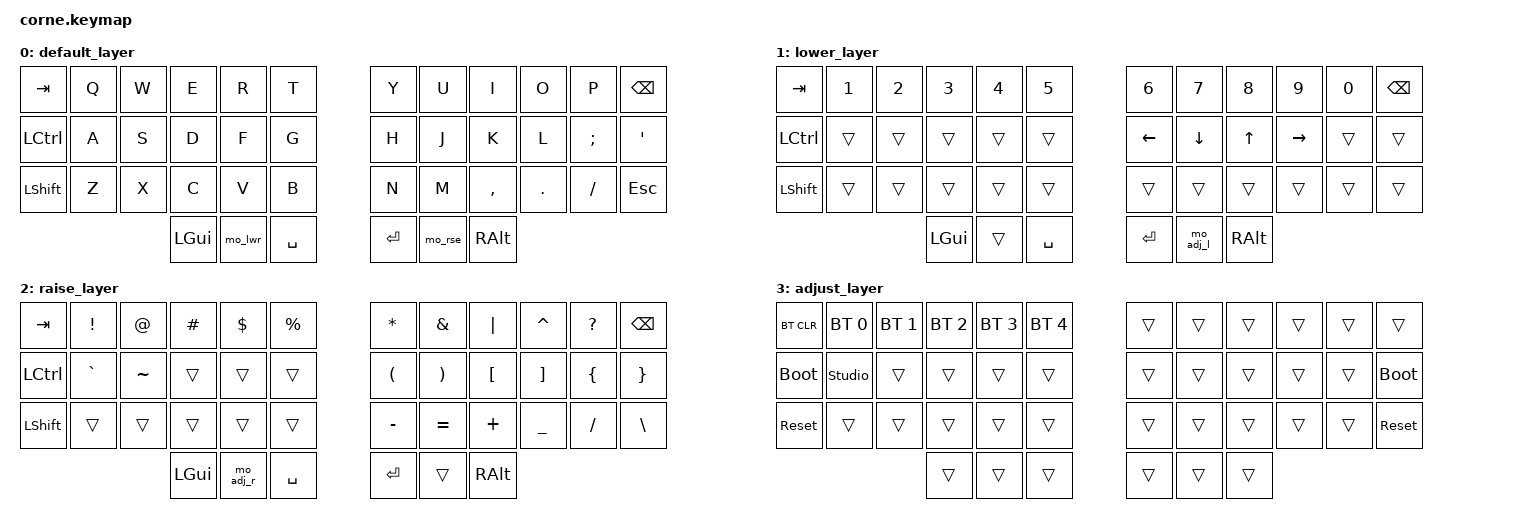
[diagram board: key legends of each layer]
#include <behaviors.dtsi>
#include <dt-bindings/zmk/keys.h>
#include <dt-bindings/zmk/bt.h>

#define DEFAULT 0
#define LOWER   1
#define RAISE   2
#define ADJUST  3

/ {
    // Macros that emit a phantom function-key keystroke alongside layer activation,
    // so the host can detect when a layer is being held (used by reference.html).
    // F23 = Lower signal, F24 = Raise signal. macOS ignores these keycodes.
    macros {
        mo_lwr: mo_lwr {
            compatible = "zmk,behavior-macro";
            #binding-cells = <0>;
            wait-ms = <0>;
            tap-ms = <0>;
            bindings
                = <&macro_press &mo LOWER>
                , <&macro_press &kp F23>
                , <&macro_pause_for_release>
                , <&macro_release &kp F23>
                , <&macro_release &mo LOWER>
                ;
        };
        mo_rse: mo_rse {
            compatible = "zmk,behavior-macro";
            #binding-cells = <0>;
            wait-ms = <0>;
            tap-ms = <0>;
            bindings
                = <&macro_press &mo RAISE>
                , <&macro_press &kp F24>
                , <&macro_pause_for_release>
                , <&macro_release &kp F24>
                , <&macro_release &mo RAISE>
                ;
        };
        // Adjust reached from Lower (RSE position on lower_layer) — F23 already held, add F24
        mo_adj_l: mo_adj_l {
            compatible = "zmk,behavior-macro";
            #binding-cells = <0>;
            wait-ms = <0>;
            tap-ms = <0>;
            bindings
                = <&macro_press &mo ADJUST>
                , <&macro_press &kp F24>
                , <&macro_pause_for_release>
                , <&macro_release &kp F24>
                , <&macro_release &mo ADJUST>
                ;
        };
        // Adjust reached from Raise (LWR position on raise_layer) — F24 already held, add F23
        mo_adj_r: mo_adj_r {
            compatible = "zmk,behavior-macro";
            #binding-cells = <0>;
            wait-ms = <0>;
            tap-ms = <0>;
            bindings
                = <&macro_press &mo ADJUST>
                , <&macro_press &kp F23>
                , <&macro_pause_for_release>
                , <&macro_release &kp F23>
                , <&macro_release &mo ADJUST>
                ;
        };
    };

    keymap {
        compatible = "zmk,keymap";

        default_layer {
            // -----------------------------------------------------------------------------------------
            // |  TAB |  Q  |  W  |  E  |  R  |  T  |   |  Y  |  U   |  I  |  O  |  P  | BKSP |
            // | CTRL |  A  |  S  |  D  |  F  |  G  |   |  H  |  J   |  K  |  L  |  ;  |  '   |
            // | SHFT |  Z  |  X  |  C  |  V  |  B  |   |  N  |  M   |  ,  |  .  |  /  | ESC  |
            //                    | GUI | LWR | SPC |   | ENT | RSE  | ALT |
            bindings = <
&kp TAB    &kp Q &kp W &kp E    &kp R    &kp T        &kp Y    &kp U    &kp I     &kp O   &kp P    &kp BSPC
&kp LCTRL  &kp A &kp S &kp D    &kp F    &kp G        &kp H    &kp J    &kp K     &kp L   &kp SEMI &kp SQT
&kp LSHFT  &kp Z &kp X &kp C    &kp V    &kp B        &kp N    &kp M    &kp COMMA &kp DOT &kp FSLH &kp ESC
                       &kp LGUI &mo_lwr   &kp SPACE   &kp RET  &mo_rse   &kp RALT
            >;
        };

        lower_layer {
            // Numbers + nav
            bindings = <
&kp TAB    &kp N1 &kp N2 &kp N3   &kp N4 &kp N5         &kp N6   &kp N7   &kp N8 &kp N9    &kp N0 &kp BSPC
&kp LCTRL  &trans &trans &trans   &trans &trans         &kp LEFT &kp DOWN &kp UP &kp RIGHT &trans &trans
&kp LSHFT  &trans &trans &trans   &trans &trans         &trans   &trans   &trans &trans    &trans &trans
                         &kp LGUI &trans &kp SPACE      &kp RET  &mo_adj_l  &kp RALT
            >;
        };

        raise_layer {
            // Symbol layer.
            // LEFT hand: shifted-number row (rarely-used punctuation).
            // RIGHT hand: brackets + operators — YOU DESIGN THIS (see TODO below).
            bindings = <
&kp TAB    &kp EXCL  &kp AT    &kp HASH &kp DLLR &kp PRCNT     &kp ASTRK &kp AMPS  &kp PIPE &kp CARET &kp QMARK &kp BSPC
&kp LCTRL  &kp GRAVE &kp TILDE &trans   &trans   &trans        &kp LPAR  &kp RPAR  &kp LBKT &kp RBKT  &kp LBRC  &kp RBRC
&kp LSHFT  &trans    &trans    &trans   &trans   &trans        &kp MINUS &kp EQUAL &kp PLUS &kp UNDER &kp FSLH  &kp BSLH
                           &kp LGUI &mo_adj_r  &kp SPACE          &kp RET &trans &kp RALT
            >;
        };

        adjust_layer {
            // Bluetooth + bootloader + reset + Studio unlock
            //  A position = &studio_unlock (live remap from zmk.studio)
            bindings = <
&bt BT_CLR   &bt BT_SEL 0   &bt BT_SEL 1 &bt BT_SEL 2 &bt BT_SEL 3 &bt BT_SEL 4   &trans &trans &trans &trans &trans &trans
&bootloader  &studio_unlock &trans       &trans       &trans       &trans         &trans &trans &trans &trans &trans &bootloader
&sys_reset   &trans         &trans       &trans       &trans       &trans         &trans &trans &trans &trans &trans &sys_reset
                                         &trans       &trans       &trans         &trans &trans &trans
            >;
        };
    };
};
